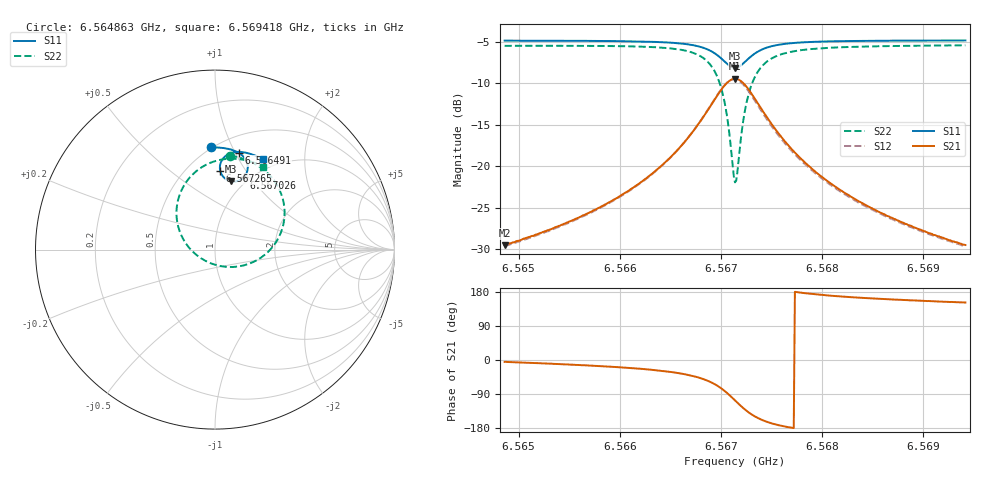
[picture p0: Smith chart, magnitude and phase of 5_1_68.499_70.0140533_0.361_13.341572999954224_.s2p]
#  HZ  S  RI  R  50.00
! Rohde & Schwarz Vector Network Analyzer
! Rohde-Schwarz,ZNB20-2Port,1311601062101988,3.16
! Created: UTC 3/20/2024, 4:48:46 PM
! freq[Hz]  re:S11  im:S11  re:S21  im:S21  re:S12  im:S12  re:S22  im:S22
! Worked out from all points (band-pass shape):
!   401 points, 6.564863 GHz to 6.569418 GHz, reference 50 ohm
!   highest |S21| = -9.48 dB at 6.56714 GHz (marker M1); lowest = -29.5 dB at 6.564863 GHz (marker M2)
!   |S21| within 3 dB of the highest: 6.566912 GHz to 6.567368 GHz (455.8 kHz wide, 0.00694 % of centre)
!   lowest |S11| = -8.2 dB at 6.56714 GHz (marker M3), VSWR 2.28, Z = 43.3 + j38.9 ohm
!   |S11| at or under -10 dB: nowhere
!   |S22| runs from -21.9 to -5.4 dB; largest |S21 - S12| = 0.018
!   S11 on the Smith chart (normalised r, x): 6.564863 GHz: 0.49, +0.83; 6.566491 GHz: 0.67, +1.04; 6.567026 GHz: 0.94, +0.93; 6.567265 GHz: 0.71, +0.77; 6.569418 GHz: 0.86, +1.28
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6.5648626e9  -0.0219 0.569  0.0333 -0.00288  0.0329 -0.00336  0.0838 0.5234
6.5656255e9  0.0432 0.5663  0.0487 -0.0119  0.048 -0.0124  0.1643 0.5037
6.5660355e9  0.0823 0.5592  0.064 -0.0231  0.063 -0.0238  0.2203 0.479
6.5663885e9  0.1211 0.5453  0.0864 -0.0455  0.0852 -0.0467  0.2856 0.4329
6.566491e9  0.1339 0.5382  0.0954 -0.0575  0.0942 -0.0588  0.3093 0.409
6.566696e9  0.1621 0.5138  0.1168 -0.0997  0.115 -0.1018  0.3621 0.3266
6.5668554e9  0.1806 0.4752  0.1258 -0.1681  0.1224 -0.1723  0.3874 0.1941
6.5669579e9  0.1789 0.4339  0.104 -0.2409  0.0968 -0.2462  0.3484 0.0554
6.5670262e9  0.1597 0.4022  0.0561 -0.2951  0.0441 -0.2992  0.2568 -0.0442
6.5670831e9  0.128 0.3827  -0.0125 -0.3256  -0.028 -0.3251  0.1279 -0.0942
6.5671173e9  0.1037 0.379  -0.0624 -0.3285  -0.0787 -0.3236  0.0369 -0.093
6.5671401e9  0.0871 0.3809  -0.0962 -0.3217  -0.1119 -0.3141  -0.0229 -0.0766
6.5671628e9  0.0712 0.3866  -0.1279 -0.3087  -0.1423 -0.2985  -0.0776 -0.0485
6.5672198e9  0.0409 0.4126  -0.1886 -0.2551  -0.1974 -0.2403  -0.1759 0.0564
6.5672653e9  0.0292 0.4388  -0.2131 -0.2033  -0.2169 -0.1884  -0.2098 0.1506
6.5673564e9  0.0319 0.4844  -0.2148 -0.1153  -0.2127 -0.1039  -0.1973 0.3044
6.5674931e9  0.0596 0.5221  -0.1774 -0.0428  -0.1733 -0.0364  -0.1169 0.426
6.5676525e9  0.0919 0.5388  -0.1366 -0.00828  -0.1329 -0.00488  -0.0326 0.4809
6.567903e9  0.1309 0.5443  -0.0957 0.00977  -0.0933 0.0113  0.0563 0.5044
6.5682333e9  0.1694 0.5402  -0.0668 0.0157  -0.0652 0.0165  0.1288 0.5048
6.568666e9  0.2099 0.5292  -0.0468 0.0169  -0.0456 0.0172  0.1918 0.4921
6.5694175e9  0.269 0.5037  -0.0296 0.0159  -0.0289 0.016  0.2675 0.4624
